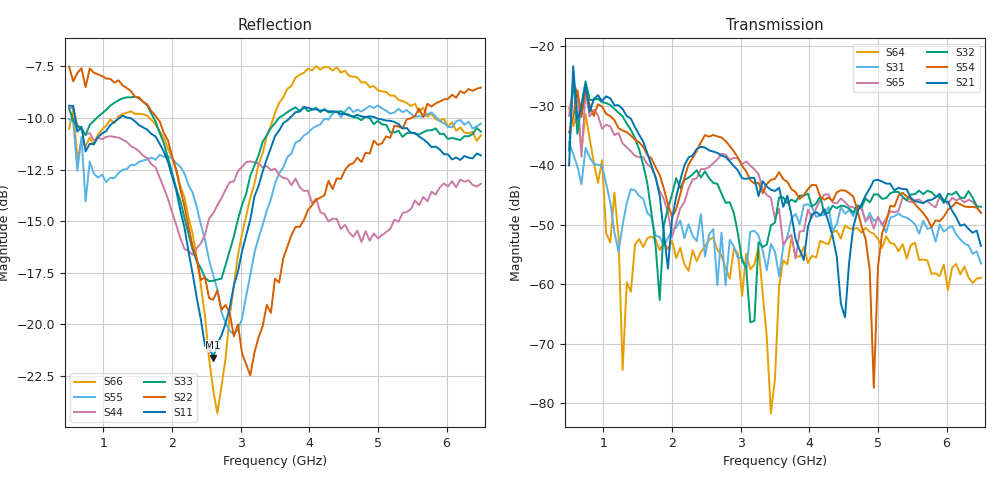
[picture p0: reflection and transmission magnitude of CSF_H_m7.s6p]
!Keysight Technologies,M9804A,MY58100912,A.14.10.03
!Date: Thursday, April 27, 2023 10:28:33
!Correction: S11(C  6-Port  )
!S12(C  6-Port  )
!S13(C  6-Port  )
!S14(C  6-Port  )
!S15(C  6-Port  )
!S16(C  6-Port  )
!S21(C  6-Port  )
!S22(C  6-Port  )
!S23(C  6-Port  )
!S24(C  6-Port  )
!S25(C  6-Port  )
!S26(C  6-Port  )
!S31(C  6-Port  )
!S32(C  6-Port  )
!S33(C  6-Port  )
!S34(C  6-Port  )
!S35(C  6-Port  )
!S36(C  6-Port  )
!S41(C  6-Port  )
!S42(C  6-Port  )
!S43(C  6-Port  )
!S44(C  6-Port  )
!S45(C  6-Port  )
!S46(C  6-Port  )
!S51(C  6-Port  )
!S52(C  6-Port  )
!S53(C  6-Port  )
!S54(C  6-Port  )
!S55(C  6-Port  )
!S56(C  6-Port  )
!S61(C  6-Port  )
!S62(C  6-Port  )
!S63(C  6-Port  )
!S64(C  6-Port  )
!S65(C  6-Port  )
!S66(C  6-Port  )
!S6P File: Measurement: :
# Hz S  RI  R 50
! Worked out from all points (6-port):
!   101 points, 500 MHz to 6.5 GHz, reference 50 ohm
!   strongest paths, dB at 500 MHz, 2 GHz, 3.5 GHz, 5 GHz, 6.5 GHz:
!     S21: -40.0, -49.0, -44.3, -42.5, -53.5
!     S54: -34.4, -48.7, -42.3, -57.1, -47.9
!     S32: -37.5, -44.9, -49.6, -44.9, -47.0
!     S65: -31.7, -52.0, -49.0, -48.6, -48.0
!     S31: -36.2, -50.9, -54.5, -48.9, -56.5
!     S64: -30.4, -52.7, -75.9, -52.3, -58.9
!   lowest |S11| = -21.6 dB at 2.6 GHz (marker M1), VSWR 1.18, Z = 42.6 + j2.03 ohm
!   |S11| at or under -10 dB: 588.2 MHz to 1.234 GHz (646.3 MHz wide, 70.9 % of centre); 1.375 GHz to 3.716 GHz (2.341 GHz wide, 91.9 % of centre); 4.973 GHz to end of sweep
